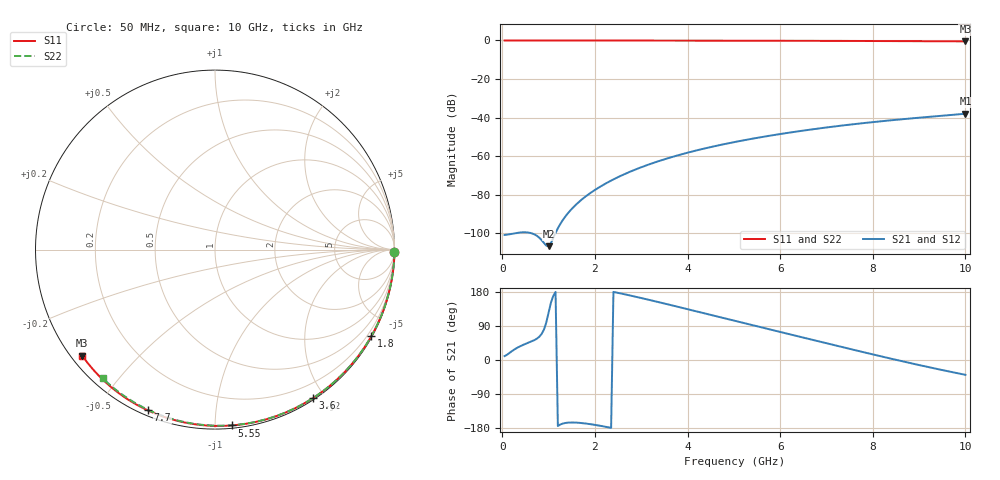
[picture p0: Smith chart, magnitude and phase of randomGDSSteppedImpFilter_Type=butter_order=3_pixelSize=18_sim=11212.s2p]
! freq	dB(S11)	phase(S11)	dB(S12)	phase(S12)
!  dB(S21)	phase(S21)	dB(S22)	phase(S22)
!S-par simulation data
#  GHz  S  DB  R 50
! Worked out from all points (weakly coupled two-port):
!   200 points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, 50 MHz to 10 GHz, reference 50 ohm
!   highest |S21| = -37.98 dB at 10 GHz (marker M1); lowest = -106.6 dB at 1 GHz (marker M2)
!   lowest |S11| = -0.5 dB at 10 GHz (marker M3), VSWR 36.64, Z = 1.53 - j17.5 ohm
!   |S11| at or under -10 dB: nowhere
!   |S22| runs from -0.4 to 0.0 dB; largest |S21 - S12| = 0
!   S11 on the Smith chart (normalised r, x): 50 MHz: open; 1.8 GHz: 0.03, -3.87; 3.6 GHz: 0.02, -1.86; 5.55 GHz: 0.02, -1.10; 7.7 GHz: 0.02, -0.67; 10 GHz: 0.03, -0.35
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0.05  -0.00 -0.8  -100.83 10.2  -100.83 10.2  -0.00 -0.8
0.5  -0.01 -8.2  -99.44 42.4  -99.44 42.4  -0.01 -7.6
1  -0.02 -16.3  -106.65 125.0  -106.65 125.0  -0.02 -15.1
1.75  -0.04 -28.2  -81.81 -166.9  -81.81 -166.9  -0.03 -26.2
1.8  -0.04 -29.0  -80.87 -167.6  -80.87 -167.6  -0.03 -26.9
1.85  -0.04 -29.8  -79.98 -168.4  -79.98 -168.4  -0.04 -27.6
2  -0.04 -32.2  -77.50 -171.2  -77.50 -171.2  -0.04 -29.8
2.15  -0.04 -34.5  -75.29 -174.4  -75.29 -174.4  -0.04 -32.0
2.35  -0.05 -37.6  -72.64 -179.1  -72.64 -179.1  -0.04 -34.9
2.55  -0.05 -40.7  -70.27 175.9  -70.27 175.9  -0.05 -37.8
2.95  -0.06 -46.9  -66.20 165.0  -66.20 165.0  -0.06 -43.5
3.4  -0.07 -53.6  -62.38 152.0  -62.38 152.0  -0.07 -49.8
3.6  -0.08 -56.6  -60.88 146.1  -60.88 146.1  -0.07 -52.6
4.3  -0.09 -66.9  -56.38 125.1  -56.38 125.1  -0.09 -62.2
5.05  -0.12 -77.5  -52.50 102.5  -52.50 102.5  -0.11 -72.1
5.55  -0.14 -84.4  -50.29 87.5  -50.29 87.5  -0.13 -78.6
6.1  -0.16 -91.9  -48.14 71.0  -48.14 71.0  -0.15 -85.5
6.7  -0.19 -99.8  -46.06 53.1  -46.06 53.1  -0.18 -92.9
7.7  -0.26 -112.7  -43.10 23.5  -43.10 23.5  -0.24 -104.9
8.35  -0.31 -120.9  -41.49 4.7  -41.49 4.7  -0.29 -112.5
9.2  -0.39 -131.4  -39.63 -18.7  -39.63 -18.7  -0.36 -122.2
10  -0.47 -141.3  -37.98 -39.1  -37.98 -39.1  -0.43 -131.2
